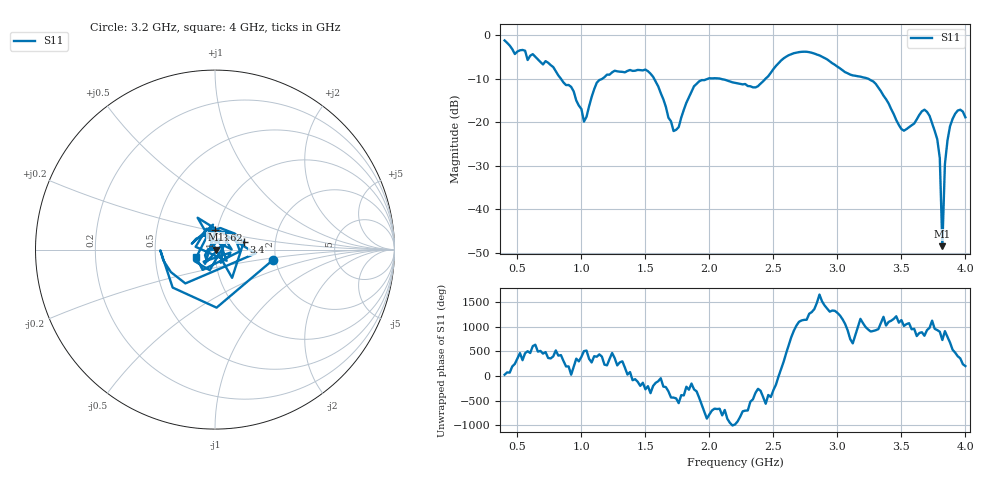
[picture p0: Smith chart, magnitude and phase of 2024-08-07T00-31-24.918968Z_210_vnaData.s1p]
!Created with skrf (http://scikit-rf.org).
# Hz S RI R 50.0
!freq ReS11 ImS11
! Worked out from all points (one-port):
!   181 points, 400 MHz to 4 GHz, reference 50 ohm
!   lowest |S11| = -48.5 dB at 3.82 GHz (marker M1), VSWR 1.01, Z = 50.4 + j0.0527 ohm
!   |S11| at or under -10 dB: 839.9 MHz to 1.163 GHz (323.3 MHz wide, 32.3 % of centre); 1.568 GHz to 1.989 GHz (420.5 MHz wide, 23.6 % of centre); 3.241 GHz to end of sweep (the widest 3 of 4)
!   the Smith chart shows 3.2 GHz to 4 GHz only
!   S11 on the Smith chart (normalised r, x): 3.2 GHz: 1.93, -0.25; 3.4 GHz: 1.37, +0.11; 3.62 GHz: 0.98, +0.21; 4 GHz: 0.80, -0.06
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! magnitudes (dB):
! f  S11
! 400 MHz  -1.2
! 860 MHz  -10.9
! 940 MHz  -12.9
! 1.02 GHz  -19.8
! 1.12 GHz  -10.9
! 1.3 GHz  -8.4
! 1.52 GHz  -8.3
! 1.6 GHz  -11.7
! 1.72 GHz  -22.0
! 1.76 GHz  -21.1
! 1.92 GHz  -10.6
! 2.2 GHz  -10.9
! 2.38 GHz  -11.7
! 2.66 GHz  -4.1
! 3.1 GHz  -9.0
! 3.2 GHz  -9.7
! 3.4 GHz  -15.7
! 3.5 GHz  -21.6
! 3.56 GHz  -21.1
! 3.62 GHz  -19.3
! 3.7 GHz  -17.6
! 3.78 GHz  -23.9
! 3.8 GHz  -28.2
! 3.82 GHz  -48.5
! 3.84 GHz  -29.6
! 3.86 GHz  -24.2
! 3.92 GHz  -18.0
! 4 GHz  -18.9
